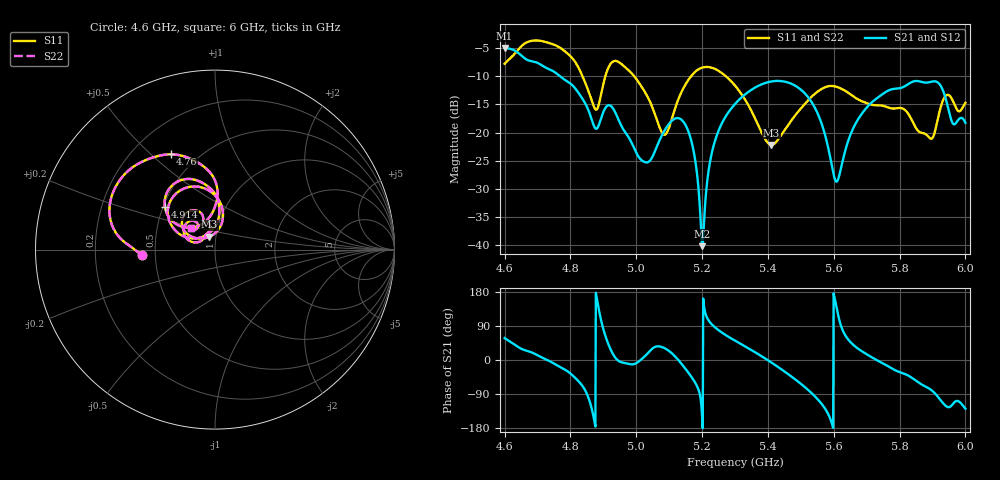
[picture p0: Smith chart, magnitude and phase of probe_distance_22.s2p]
! TOUCHSTONE file generated by CST MICROWAVE STUDIO
! Date and time: Sat Nov 30 13:11:02 2024
! Project name: test_tuning.cst
! Parameters = {airCoaxOuterDiameter=3; chamferAngle=45; chamferWidth=24; connectorLength=10; drillingHoleDiameter=4.1; feedLength=60; flareDiameter=130; flareLength=70; gratingDistance=0; gratingGap=1.90274; outletLength=30; polarizerLength=134; probe1Diameter=1.3; probe1Distance=18.5; probe1Length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
! Header version: 2024
! Port assignment regex: !\s*Touchstone port\s*([0-9]+)\s*=\s*(CST MWS port|CST DES external port|CST DES block port)\s*(.+)\s* \(\"(.*)\"\)(\s*mode\s*([0-9]+))?.*
! Touchstone port assignment:
! Touchstone port 1 = CST MWS port 1 ("Input1")
! Touchstone port 2 = CST MWS port 2 ("Input2")
# GHz S MA R 50
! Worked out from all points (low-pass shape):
!   1001 points, 4.6 GHz to 6 GHz, reference 50 ohm
!   highest |S21| = -4.99 dB at 4.6 GHz (marker M1); lowest = -40.2 dB at 5.201 GHz (marker M2)
!   |S21| within 3 dB of the highest: start of sweep to 4.711 GHz
!   lowest |S11| = -22.2 dB at 5.411 GHz (marker M3), VSWR 1.17, Z = 46.6 + j6.68 ohm
!   |S11| at or under -10 dB: 4.837 GHz to 4.906 GHz (69.55 MHz wide, 1.43 % of centre); 4.994 GHz to 5.167 GHz (172.8 MHz wide, 3.4 % of centre); 5.272 GHz to end of sweep
!   |S22| runs from -22.2 to -3.7 dB; largest |S21 - S12| = 1e-06
!   S11 on the Smith chart (normalised r, x): 4.6 GHz: 0.42, -0.03; 4.76 GHz: 0.36, +0.58; 4.914 GHz: 0.51, +0.28; 6 GHz: 0.74, +0.19
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4.6  0.4076 -175.7  0.563 57.8  0.563 57.8  0.4076 -175.7
4.6714  0.6395 156.1  0.4384 23.4  0.4384 23.4  0.6395 156.1
4.7596  0.5858 115.0  0.3311 -14.4  0.3311 -14.4  0.5858 115.0
4.8338  0.3301 87.6  0.2051 -65.3  0.2051 -65.3  0.3301 87.6
4.8786  0.1595 120.1  0.108 170.5  0.108 170.5  0.1595 120.1
4.9136  0.3665 139.6  0.174 45.3  0.174 45.3  0.3666 139.6
5.0186  0.2489 85.0  0.05611 4.1  0.05611 4.1  0.2489 85.0
5.0676  0.1177 93.8  0.08142 36.1  0.08142 36.1  0.1177 93.8
5.0928  0.09971 133.6  0.1123 27.8  0.1123 27.8  0.09971 133.6
5.1516  0.2732 151.4  0.1137 -25.7  0.1137 -25.7  0.2732 151.4
5.1782  0.3444 139.6  0.05906 -58.7  0.05906 -58.7  0.3444 139.6
5.2006  0.3774 127.2  0.009807 -158.3  0.009808 -158.3  0.3774 127.2
5.2342  0.3723 109.2  0.07505 90.0  0.07505 90.0  0.3723 109.2
5.3  0.2614 83.4  0.1791 51.1  0.1791 51.1  0.2614 83.4
5.4106  0.07763 113.3  0.284 -6.6  0.284 -6.6  0.07763 113.3
5.5338  0.2093 147.3  0.1843 -88.3  0.1843 -88.3  0.2093 147.3
5.6094  0.2542 121.2  0.03672 134.9  0.03672 134.9  0.2542 121.2
5.671  0.199 109.9  0.1268 31.7  0.1268 31.7  0.199 109.9
5.7676  0.166 111.2  0.2372 -17.8  0.2372 -17.8  0.166 111.2
5.895  0.08822 136.8  0.2817 -78.3  0.2817 -78.3  0.08822 136.8
5.9398  0.2113 145.0  0.2018 -120.8  0.2018 -120.8  0.2113 145.0
6  0.1836 137.9  0.1219 -128.6  0.1219 -128.6  0.1836 137.9
